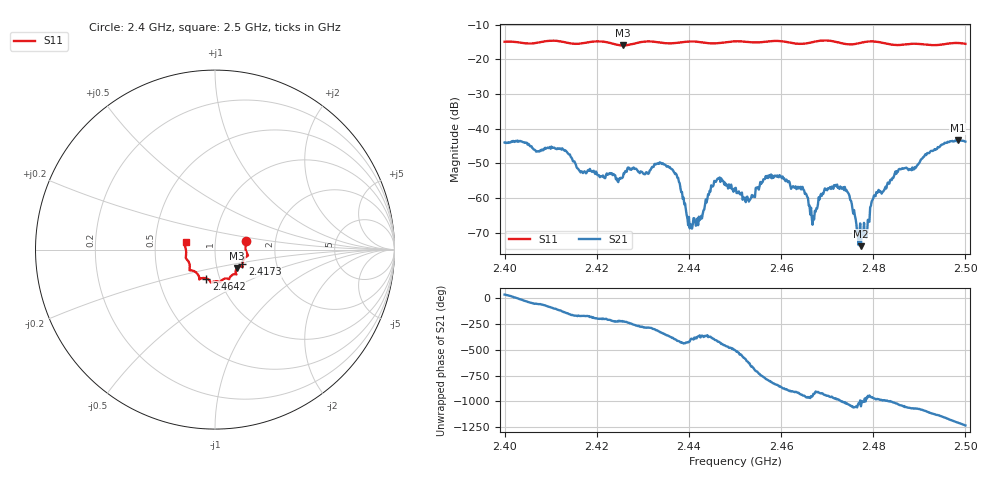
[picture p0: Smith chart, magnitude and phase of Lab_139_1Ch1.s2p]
# Hz S RI R 50
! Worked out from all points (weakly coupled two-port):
!   601 points, 2.4 GHz to 2.5 GHz, reference 50 ohm
!   highest |S21| = -43.30 dB at 2.4983 GHz (marker M1); lowest = -73.9 dB at 2.4773 GHz (marker M2)
!   lowest |S11| = -15.9 dB at 2.4257 GHz (marker M3), VSWR 1.38, Z = 62.4 - j13.1 ohm
!   |S11| at or under -10 dB: start of sweep to end of sweep
!   S12 and S22 are empty: the file has one direction only
!   S11 on the Smith chart (normalised r, x): 2.4 GHz: 1.41, +0.14; 2.4173 GHz: 1.34, -0.23; 2.4642 GHz: 0.86, -0.29; 2.5 GHz: 0.72, +0.06
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2.4e9  0.1734 0.0495  0.00517 0.00365  0 0  0 0
2.412667e9  0.1759 -0.0388  -0.00328 -0.00381  0 0  0 0
2.416667e9  0.1532 -0.075  -0.00241 -0.000336  0 0  0 0
2.417333e9  0.1524 -0.0824  -0.00241 -0.000357  0 0  0 0
2.425667e9  0.1224 -0.1024  -0.00137 0.00146  0 0  0 0
2.433333e9  0.1127 -0.1366  0.00241 0.0021  0 0  0 0
2.437167e9  0.0866 -0.15  0.00169 -0.0015  0 0  0 0
2.440333e9  0.0792 -0.1639  0.000314 -0.00027  0 0  0 0
2.446e9  0.047 -0.1646  0.00119 -0.00136  0 0  0 0
2.45e9  0.0297 -0.1807  -0.00113 -0.000801  0 0  0 0
2.453333e9  0.0153 -0.1768  0.00032 0.000908  0 0  0 0
2.457333e9  -0.0156 -0.1819  0.000416 -0.00207  0 0  0 0
2.464167e9  -0.0482 -0.1611  -0.00126 0.000722  0 0  0 0
2.466667e9  -0.0762 -0.1598  -0.000289 0.000422  0 0  0 0
2.469833e9  -0.0877 -0.1665  -0.000954 0.000955  0 0  0 0
2.473333e9  -0.0928 -0.143  0.00027 0.00138  0 0  0 0
2.477333e9  -0.1297 -0.1162  0.000171 0.000108  0 0  0 0
2.478667e9  -0.1391 -0.1157  -0.000104 0.000298  0 0  0 0
2.480167e9  -0.1426 -0.1131  -0.000356 0.00103  0 0  0 0
2.483333e9  -0.1407 -0.0894  0.000266 0.00162  0 0  0 0
2.498333e9  -0.17 0.033  -0.00398 -0.00556  0 0  0 0
2.5e9  -0.1631 0.0417  -0.00583 -0.00293  0 0  0 0
